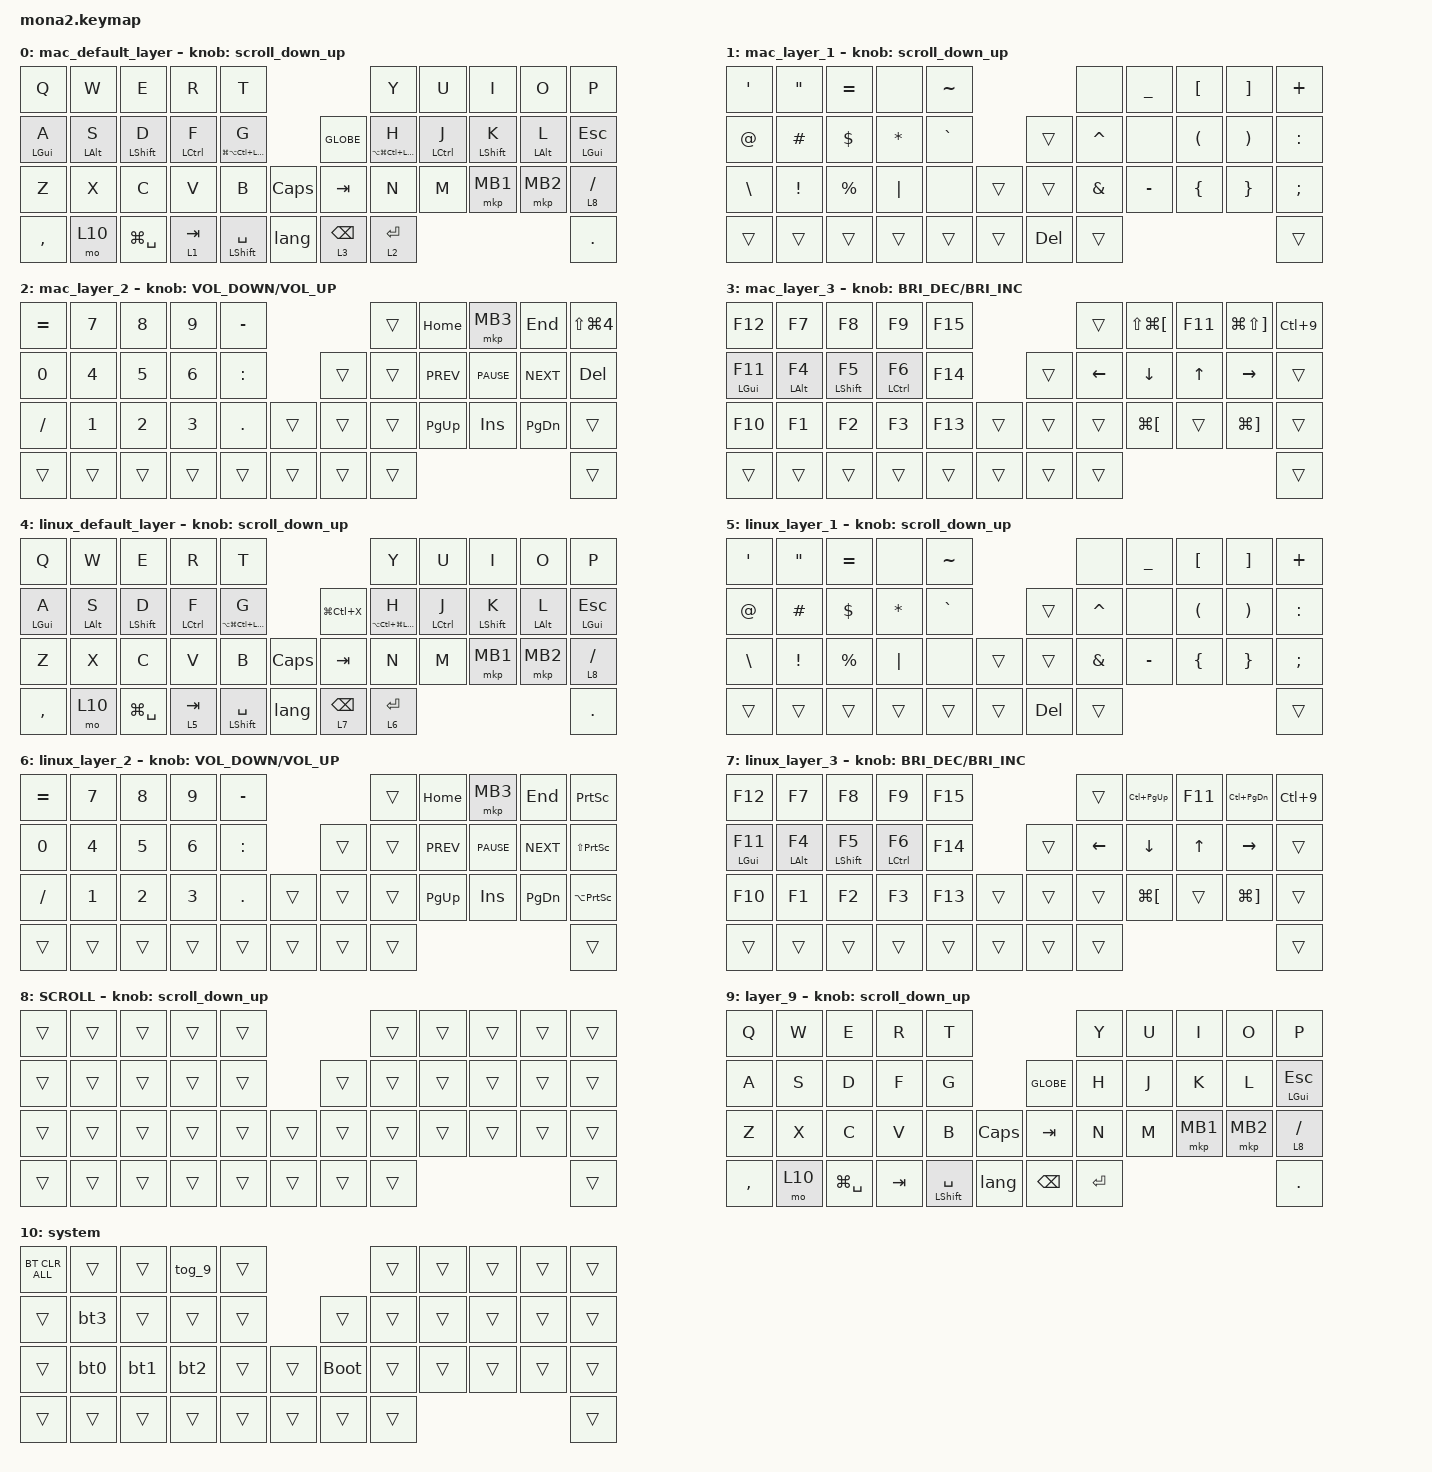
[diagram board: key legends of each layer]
#include <input/processors.dtsi>
#include <dt-bindings/zmk/input_transform.h>
#include <zephyr/dt-bindings/input/input-event-codes.h>
#include <behaviors.dtsi>
#include <dt-bindings/zmk/bt.h>
#include <dt-bindings/zmk/keys.h>
#include <dt-bindings/zmk/pointing.h>

#define ZMK_POINTING_DEFAULT_SCRL_VAL 100

&mt {
    flavor = "balanced";
    quick-tap-ms = <250>;
};

&lt {
    quick-tap-ms = <250>;
    flavor = "balanced";
};

/ {
    combos {
        compatible = "zmk,combos";

        system_ESC {
            bindings = <&lt 10 ESC>;
            key-positions = <38 39>;
        };
    };

    macros {
        bt0: bt0 {
            compatible = "zmk,behavior-macro";
            #binding-cells = <0>;
            bindings =
                <&tog_off 0 &tog_off 4 &tog_off 9>,
                <&macro_wait_time 200>,
                <&bt BT_SEL 0>,
                <&macro_wait_time 500>;

            label = "BT0";
        };

        bt1: bt1 {
            compatible = "zmk,behavior-macro";
            #binding-cells = <0>;
            bindings =
                <&tog_off 0 &tog_off 4 &tog_off 9>,
                <&macro_wait_time 200>,
                <&bt BT_SEL 1>,
                <&macro_wait_time 500>,
                <&tog_on 4>;

            label = "BT1";
        };

        bt2: bt2 {
            compatible = "zmk,behavior-macro";
            #binding-cells = <0>;
            bindings =
                <&tog_off 0 &tog_off 4 &tog_off 9>,
                <&macro_wait_time 200>,
                <&bt BT_SEL 2>,
                <&macro_wait_time 500>,
                <&tog_on 4>;

            label = "BT2";
        };

        bt3: bt3 {
            compatible = "zmk,behavior-macro";
            #binding-cells = <0>;
            bindings =
                <&tog_off 0 &tog_off 4 &tog_off 9>,
                <&macro_wait_time 200>,
                <&bt BT_SEL 3>,
                <&macro_wait_time 500>;

            label = "BT3";
        };

        tog_9: tog_10 {
            compatible = "zmk,behavior-macro";
            #binding-cells = <0>;
            bindings =
                <&tog_off 0 &tog_off 4 &tog_off 9>,
                <&macro_wait_time 200>,
                <&tog_on 9>;

            label = "TOG_10";
        };
    };

    behaviors {
        tog_on: tog_on {
            compatible = "zmk,behavior-toggle-layer";
            label = "TOG_ON";
            #binding-cells = <1>;
        };

        tog_off: tog_off {
            compatible = "zmk,behavior-toggle-layer";
            label = "TOG_OFF";
            #binding-cells = <1>;
            toggle-mode = "off";
        };

        lang: lang {
            compatible = "zmk,behavior-tap-dance";
            label = "LANG";
            #binding-cells = <0>;
            bindings = <&kp LANG2>, <&kp LANG1>;
        };

        hml: hml {
            compatible = "zmk,behavior-hold-tap";
            label = "HML";
            bindings = <&kp>, <&kp>;

            #binding-cells = <2>;
            flavor = "balanced";
            require-prior-idle-ms = <150>;
            tapping-term-ms = <280>;
            quick-tap-ms = <175>;
            hold-trigger-on-release;
            hold-trigger-key-positions = <5 6 7 8 9 15 16 17 18 19 20 27 28 29 30 31 32 39 40 41>;
        };

        hmr: hmr {
            compatible = "zmk,behavior-hold-tap";
            label = "HMR";
            bindings = <&kp>, <&kp>;

            #binding-cells = <2>;
            flavor = "balanced";
            require-prior-idle-ms = <150>;
            tapping-term-ms = <280>;
            quick-tap-ms = <175>;
            hold-trigger-on-release;
            hold-trigger-key-positions = <0 1 2 3 4 10 11 12 13 14 21 22 23 24 25 26 33 34 35 36 37 38>;
        };

        scroll_up_down: scroll_up_down {
            compatible = "zmk,behavior-sensor-rotate";
            #sensor-binding-cells = <0>;
            bindings = <&msc SCRL_UP>, <&msc SCRL_DOWN>;

            tap-ms = <20>;
            label = "SCROLL_UP_DOWN";
        };

        scroll_down_up: scroll_down_up {
            compatible = "zmk,behavior-sensor-rotate";
            #sensor-binding-cells = <0>;
            bindings = <&msc SCRL_DOWN>, <&msc SCRL_UP>;

            tap-ms = <20>;
            label = "SCROLL_DOWN_UP";
        };
    };

    keymap {
        compatible = "zmk,keymap";

        mac_default_layer {
            bindings = <
&kp Q            &kp W            &kp E              &kp R         &kp T                                                           &kp Y                          &kp U         &kp I              &kp O            &kp P
&hml LEFT_GUI A  &hml LEFT_ALT S  &hml LEFT_SHIFT D  &hml LCTRL F  &hml LG(LA(LC(LEFT_SHIFT))) G                  &kp GLOBE        &hmr LA(LG(LC(LEFT_SHIFT))) H  &hmr LCTRL J  &hmr LEFT_SHIFT K  &hmr LEFT_ALT L  &hmr LEFT_GUI ESCAPE
&kp Z            &kp X            &kp C              &kp V         &kp B                          &kp CAPSLOCK    &kp TAB          &kp N                          &kp M         &mkp MB1           &mkp MB2         &lt 8 SLASH
&kp COMMA        &mo 10           &kp LG(SPACE)      &lt 1 TAB     &mt LEFT_SHIFT SPACE           &lang           &lt 3 BACKSPACE  &lt 2 ENTER                                                                      &kp PERIOD
            >;

            sensor-bindings = <&scroll_down_up>;
        };

        mac_layer_1 {
            bindings = <
&kp SINGLE_QUOTE  &kp DOUBLE_QUOTES  &kp EQUAL    &none         &kp TILDE                        &none          &kp UNDERSCORE  &kp LEFT_BRACKET      &kp RIGHT_BRACKET      &kp PLUS
&kp AT_SIGN       &kp HASH           &kp DOLLAR   &kp ASTERISK  &kp GRAVE            &trans      &kp CARET      &none           &kp LEFT_PARENTHESIS  &kp RIGHT_PARENTHESIS  &kp COLON
&kp BACKSLASH     &kp EXCLAMATION    &kp PERCENT  &kp PIPE      &none      &trans    &trans      &kp AMPERSAND  &kp MINUS       &kp LEFT_BRACE        &kp RIGHT_BRACE        &kp SEMICOLON
&trans            &trans             &trans       &trans        &trans     &trans    &kp DELETE  &trans                                                                      &trans
            >;

            sensor-bindings = <&scroll_down_up>;
        };

        mac_layer_2 {
            bindings = <
&kp EQUAL  &kp N7        &kp N8        &kp N9        &kp MINUS                     &trans  &kp HOME     &mkp MB3     &kp END        &kp LS(LG(NUMBER_4))
&kp N0     &kp NUMBER_4  &kp N5        &kp NUMBER_6  &kp COLON             &trans  &trans  &kp C_PREV   &kp C_PAUSE  &kp C_NEXT     &kp DEL
&kp SLASH  &kp NUMBER_1  &kp NUMBER_2  &kp NUMBER_3  &kp PERIOD  &trans    &trans  &trans  &kp PAGE_UP  &kp INS      &kp PAGE_DOWN  &trans
&trans     &trans        &trans        &trans        &trans      &trans    &trans  &trans                                           &trans
            >;

            sensor-bindings = <&inc_dec_kp C_VOLUME_DOWN C_VOLUME_UP>;
        };

        mac_layer_3 {
            bindings = <
&kp F12           &kp F7           &kp F8             &kp F9        &kp F15                    &trans          &kp LS(LG(LEFT_BRACKET))  &kp F11       &kp LG(LS(RIGHT_BRACKET))  &kp LC(N9)
&mt LEFT_GUI F11  &mt LEFT_ALT F4  &mt LEFT_SHIFT F5  &mt LCTRL F6  &kp F14            &trans  &kp LEFT_ARROW  &kp DOWN                  &kp UP_ARROW  &kp RIGHT                  &trans
&kp F10           &kp F1           &kp F2             &kp F3        &kp F13  &trans    &trans  &trans          &kp LG(LEFT_BRACKET)      &trans        &kp LG(RIGHT_BRACKET)      &trans
&trans            &trans           &trans             &trans        &trans   &trans    &trans  &trans                                                                             &trans
            >;

            sensor-bindings = <&inc_dec_kp C_BRIGHTNESS_DEC C_BRIGHTNESS_INC>;
        };

        linux_default_layer {
            bindings = <
&kp Q            &kp W            &kp E              &kp R         &kp T                                                           &kp Y                          &kp U         &kp I              &kp O            &kp P
&hml LEFT_GUI A  &hml LEFT_ALT S  &hml LEFT_SHIFT D  &hml LCTRL F  &hml LA(LG(LC(LEFT_SHIFT))) G                  &kp LG(LC(X))    &hmr LA(LC(LG(LEFT_SHIFT))) H  &hmr LCTRL J  &hmr LEFT_SHIFT K  &hmr LEFT_ALT L  &hmr LEFT_GUI ESCAPE
&kp Z            &kp X            &kp C              &kp V         &kp B                          &kp CAPSLOCK    &kp TAB          &kp N                          &kp M         &mkp MB1           &mkp MB2         &lt 8 SLASH
&kp COMMA        &mo 10           &kp LG(SPACE)      &lt 5 TAB     &mt LEFT_SHIFT SPACE           &lang           &lt 7 BACKSPACE  &lt 6 ENTER                                                                      &kp PERIOD
            >;

            sensor-bindings = <&scroll_down_up>;
        };

        linux_layer_1 {
            bindings = <
&kp SINGLE_QUOTE  &kp DOUBLE_QUOTES  &kp EQUAL    &none         &kp TILDE                        &none          &kp UNDERSCORE  &kp LEFT_BRACKET      &kp RIGHT_BRACKET      &kp PLUS
&kp AT_SIGN       &kp HASH           &kp DOLLAR   &kp ASTERISK  &kp GRAVE            &trans      &kp CARET      &none           &kp LEFT_PARENTHESIS  &kp RIGHT_PARENTHESIS  &kp COLON
&kp BACKSLASH     &kp EXCLAMATION    &kp PERCENT  &kp PIPE      &none      &trans    &trans      &kp AMPERSAND  &kp MINUS       &kp LEFT_BRACE        &kp RIGHT_BRACE        &kp SEMICOLON
&trans            &trans             &trans       &trans        &trans     &trans    &kp DELETE  &trans                                                                      &trans
            >;

            sensor-bindings = <&scroll_down_up>;
        };

        linux_layer_2 {
            bindings = <
&kp EQUAL  &kp N7        &kp N8        &kp N9        &kp MINUS                     &trans  &kp HOME     &mkp MB3     &kp END        &kp PRINTSCREEN
&kp N0     &kp NUMBER_4  &kp N5        &kp NUMBER_6  &kp COLON             &trans  &trans  &kp C_PREV   &kp C_PAUSE  &kp C_NEXT     &kp LS(PRINTSCREEN)
&kp SLASH  &kp NUMBER_1  &kp NUMBER_2  &kp NUMBER_3  &kp PERIOD  &trans    &trans  &trans  &kp PAGE_UP  &kp INS      &kp PAGE_DOWN  &kp LA(PRINTSCREEN)
&trans     &trans        &trans        &trans        &trans      &trans    &trans  &trans                                           &trans
            >;

            sensor-bindings = <&inc_dec_kp C_VOLUME_DOWN C_VOLUME_UP>;
        };

        linux_layer_3 {
            bindings = <
&kp F12           &kp F7           &kp F8             &kp F9        &kp F15                    &trans          &kp LC(PAGE_UP)       &kp F11       &kp LC(PAGE_DOWN)      &kp LC(N9)
&mt LEFT_GUI F11  &mt LEFT_ALT F4  &mt LEFT_SHIFT F5  &mt LCTRL F6  &kp F14            &trans  &kp LEFT_ARROW  &kp DOWN              &kp UP_ARROW  &kp RIGHT              &trans
&kp F10           &kp F1           &kp F2             &kp F3        &kp F13  &trans    &trans  &trans          &kp LG(LEFT_BRACKET)  &trans        &kp LG(RIGHT_BRACKET)  &trans
&trans            &trans           &trans             &trans        &trans   &trans    &trans  &trans                                                                     &trans
            >;

            sensor-bindings = <&inc_dec_kp C_BRIGHTNESS_DEC C_BRIGHTNESS_INC>;
        };

        SCROLL {
            bindings = <
&trans  &trans  &trans  &trans  &trans                    &trans  &trans  &trans  &trans  &trans
&trans  &trans  &trans  &trans  &trans            &trans  &trans  &trans  &trans  &trans  &trans
&trans  &trans  &trans  &trans  &trans  &trans    &trans  &trans  &trans  &trans  &trans  &trans
&trans  &trans  &trans  &trans  &trans  &trans    &trans  &trans                          &trans
            >;

            sensor-bindings = <&scroll_down_up>;
        };

        layer_9 {
            bindings = <
&kp Q      &kp W   &kp E          &kp R    &kp T                                                &kp Y      &kp U  &kp I     &kp O     &kp P
&kp A      &kp S   &kp D          &kp F    &kp G                                 &kp GLOBE      &kp H      &kp J  &kp K     &kp L     &hmr LEFT_GUI ESCAPE
&kp Z      &kp X   &kp C          &kp V    &kp B                 &kp CAPSLOCK    &kp TAB        &kp N      &kp M  &mkp MB1  &mkp MB2  &lt 8 SLASH
&kp COMMA  &mo 10  &kp LG(SPACE)  &kp TAB  &mt LEFT_SHIFT SPACE  &lang           &kp BACKSPACE  &kp ENTER                             &kp PERIOD
            >;

            sensor-bindings = <&scroll_down_up>;
        };

        system {
            bindings = <
&bt BT_CLR_ALL  &trans  &trans  &tog_9  &trans                         &trans  &trans  &trans  &trans  &trans
&trans          &bt3    &trans  &trans  &trans            &trans       &trans  &trans  &trans  &trans  &trans
&trans          &bt0    &bt1    &bt2    &trans  &trans    &bootloader  &trans  &trans  &trans  &trans  &trans
&trans          &trans  &trans  &trans  &trans  &trans    &trans       &trans                          &trans
            >;
        };
    };
};
